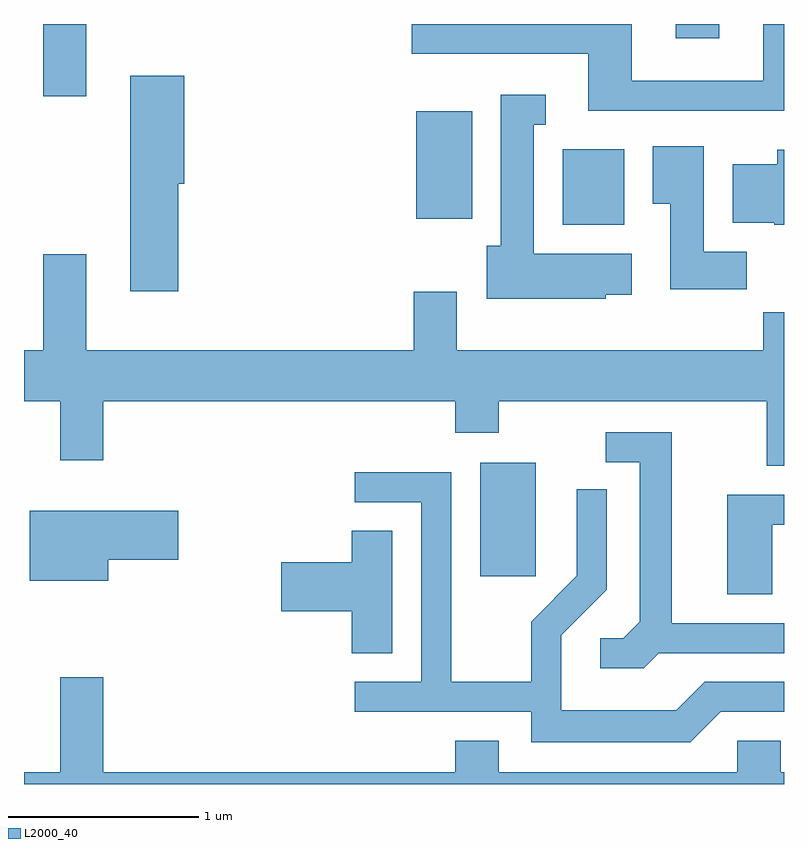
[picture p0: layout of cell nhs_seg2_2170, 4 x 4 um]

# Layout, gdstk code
import gdstk
lib = gdstk.Library(unit=1e-6, precision=1e-09)
def R(c, l, rs):  # rectangles x0, y0, x1, y1
    for r in rs: c.add(gdstk.rectangle(r[:2], r[2:], *l))
def P(c, l, *ps):  # polygons
    for p in ps: c.add(gdstk.Polygon(p, *l))
L2000_40 = (2000, 40)

nhs_seg2_2170 = lib.new_cell('nhs_seg2_2170')
R(nhs_seg2_2170, L2000_40, [(250.011,1102.896,250.304,1103.494), (250.446,1104.746,250.769,1105.144), (249.676,1104.776,249.969,1105.344), (247.711,1105.421,247.939,1105.802), (251.041,1105.726,251.269,1105.802)])
P(nhs_seg2_2170, L2000_40, [(251.611,1105.802),(251.501,1105.802),(251.501,1105.504),(250.809,1105.504),(250.809,1105.802),(249.653,1105.802),(249.653,1105.646),(250.581,1105.646),(250.581,1105.346),(251.611,1105.346)],
  [(248.424,1104.961),(248.454,1104.961),(248.454,1105.529),(248.171,1105.529),(248.171,1104.396),(248.424,1104.396)],
  [(250.674,1104.376),(250.809,1104.376),(250.809,1104.594),(250.294,1104.594),(250.294,1105.271),(250.358,1105.271),(250.358,1105.429),(250.121,1105.429),(250.121,1104.634),(250.046,1104.634),(250.046,1104.356),(250.674,1104.356)],
  [(251.414,1104.604),(251.189,1104.604),(251.189,1105.159),(250.921,1105.159),(250.921,1104.856),(251.011,1104.856),(251.011,1104.406),(251.414,1104.406)],
  [(251.611,1105.139),(251.576,1105.139),(251.576,1105.064),(251.341,1105.064),(251.341,1104.756),(251.56,1104.756),(251.56,1104.746),(251.611,1104.746)],
  [(251.611,1104.284),(251.501,1104.284),(251.501,1104.084),(249.889,1104.084),(249.889,1104.394),(249.661,1104.394),(249.661,1104.084),(247.939,1104.084),(247.939,1104.589),(247.711,1104.589),(247.711,1104.084),(247.611,1104.084),(247.611,1103.816),(247.801,1103.816),(247.801,1103.506),(248.029,1103.506),(248.029,1103.816),(249.881,1103.816),(249.881,1103.651),(250.109,1103.651),(250.109,1103.816),(251.521,1103.816),(251.521,1103.476),(251.611,1103.476)],
  [(250.952,1102.491),(251.611,1102.491),(251.611,1102.649),(251.019,1102.649),(251.019,1103.654),(250.673,1103.654),(250.673,1103.496),(250.851,1103.496),(250.851,1102.657),(250.764,1102.569),(250.643,1102.569),(250.643,1102.411),(250.872,1102.411)],
  [(251.277,1102.181),(251.611,1102.181),(251.611,1102.339),(251.194,1102.339),(251.044,1102.189),(250.439,1102.189),(250.439,1102.584),(250.679,1102.824),(250.679,1103.353),(250.521,1103.353),(250.521,1102.897),(250.281,1102.657),(250.281,1102.339),(249.859,1102.339),(249.859,1103.444),(249.353,1103.444),(249.353,1103.286),(249.701,1103.286),(249.701,1102.339),(249.353,1102.339),(249.353,1102.181),(250.281,1102.181),(250.281,1102.021),(251.117,1102.021)],
  [(251.549,1103.166),(251.611,1103.166),(251.611,1103.324),(251.311,1103.324),(251.311,1102.801),(251.549,1102.801)],
  [(248.054,1102.981),(248.424,1102.981),(248.424,1103.239),(247.641,1103.239),(247.641,1102.871),(248.054,1102.871)],
  [(249.549,1103.134),(249.336,1103.134),(249.336,1102.969),(248.966,1102.969),(248.966,1102.711),(249.336,1102.711),(249.336,1102.491),(249.549,1102.491)],
  [(251.611,1101.864),(251.594,1101.864),(251.594,1102.029),(251.366,1102.029),(251.366,1101.864),(250.109,1101.864),(250.109,1102.029),(249.881,1102.029),(249.881,1101.864),(248.029,1101.864),(248.029,1102.364),(247.801,1102.364),(247.801,1101.864),(247.611,1101.864),(247.611,1101.802),(251.611,1101.802)])

lib.write_gds('nhs_seg2_2170.gds')
